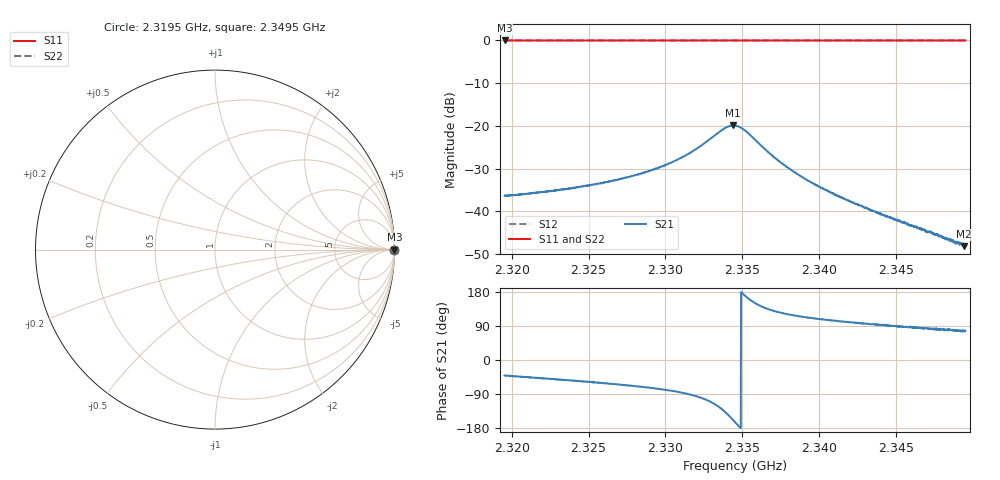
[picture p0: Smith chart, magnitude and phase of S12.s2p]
!Agilent N9918A: A.07.57
!Date: Wednesday, 21 January 2015 17:31:14
!Timezone: (GMT+08:00) Kuala Lumpur, Singapore
!Model: N9918A
!Serial: MY53103598
!GPS Latitude:
!GPS Longitude:
!GPS TimeStamp: 0001-01-01 00:00:00Z
!GPS Seconds Since Last Read: 0
!CHECKSUM:0189970501
!Correction: S11()S21(Rdy)S12()S22()
!S2P File: Measurements:S11,S21,S12,S22:
# Hz S DB R 50
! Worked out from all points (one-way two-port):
!   1601 points, 2.3195 GHz to 2.3495 GHz, reference 50 ohm
!   highest |S21| = -19.90 dB at 2.3344 GHz (marker M1); lowest = -48.2 dB at 2.3495 GHz (marker M2)
!   lowest |S11| = 0.0 dB at 2.3195 GHz (marker M3)
!   |S11| at or under -10 dB: nowhere
!   |S22| runs from 0.0 to 0.0 dB; largest |S21 - S12| = 1.1
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2.319531e9  0.00 0.0  -36.35 -40.7  0.00 0.0  0.00 0.0
2.322531e9  0.00 0.0  -35.29 -50.3  0.00 0.0  0.00 0.0
2.324538e9  0.00 0.0  -34.20 -56.5  0.00 0.0  0.00 0.0
2.326881e9  0.00 0.0  -32.64 -64.3  0.00 0.0  0.00 0.0
2.328381e9  0.00 0.0  -31.23 -70.7  0.00 0.0  0.00 0.0
2.329544e9  0.00 0.0  -29.80 -76.0  0.00 0.0  0.00 0.0
2.331156e9  0.00 0.0  -27.24 -87.1  0.00 0.0  0.00 0.0
2.332506e9  0.00 0.0  -24.16 -102.5  0.00 0.0  0.00 0.0
2.3338e9  0.00 0.0  -20.71 -133.9  0.00 0.0  0.00 0.0
2.334119e9  0.00 0.0  -20.12 -146.1  0.00 0.0  0.00 0.0
2.3344e9  0.00 0.0  -19.90 -158.2  0.00 0.0  0.00 0.0
2.334531e9  0.00 0.0  -19.95 -163.9  0.00 0.0  0.00 0.0
2.335094e9  0.00 0.0  -20.86 172.8  0.00 0.0  0.00 0.0
2.335881e9  0.00 0.0  -23.38 149.1  0.00 0.0  0.00 0.0
2.336856e9  0.00 0.0  -26.68 132.1  0.00 0.0  0.00 0.0
2.337625e9  0.00 0.0  -28.90 123.7  0.00 0.0  0.00 0.0
2.338544e9  0.00 0.0  -31.15 116.2  0.00 0.0  0.00 0.0
2.339538e9  0.00 0.0  -33.33 110.4  0.00 0.0  0.00 0.0
2.342219e9  0.00 0.0  -37.95 99.1  0.00 0.0  0.00 0.0
2.344544e9  0.00 0.0  -41.31 90.5  0.00 0.0  0.00 0.0
2.349456e9  0.00 0.0  -48.18 76.2  0.00 0.0  0.00 0.0
2.349531e9  0.00 0.0  -48.12 77.5  0.00 0.0  0.00 0.0
